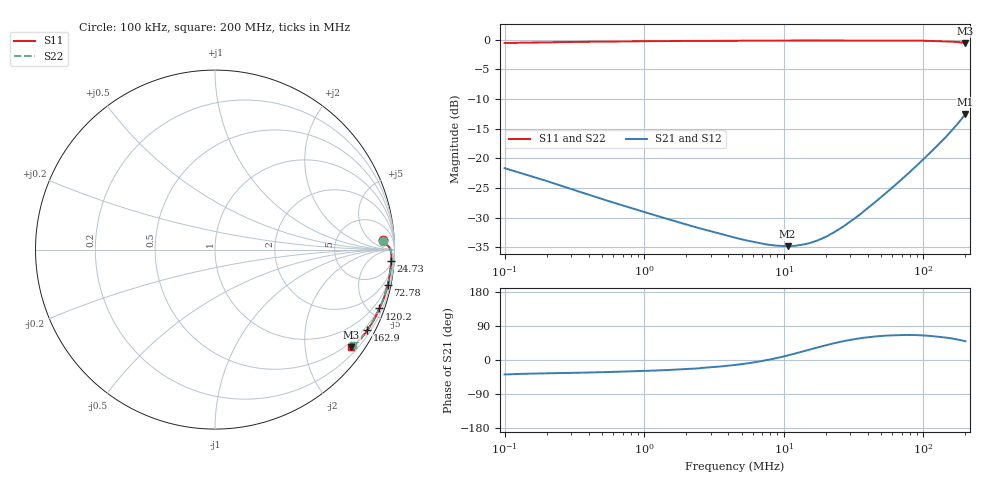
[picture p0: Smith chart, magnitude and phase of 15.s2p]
#  HZ  S  RI  R  50.00
! Rohde & Schwarz Vector Network Analyzer
! Rohde-Schwarz,ZNLE6-2Port,1323001256200024,1.71.1.10-23.02.1.238
! Created: UTC 4/11/2025, 6:06:44 AM
! freq[Hz]  re:S11  im:S11  re:S21  im:S21  re:S12  im:S12  re:S22  im:S22
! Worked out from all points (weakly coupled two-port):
!   1001 points, 100 kHz to 200 MHz, reference 50 ohm
!   highest |S21| = -12.53 dB at 200 MHz (marker M1); lowest = -34.8 dB at 10.64 MHz (marker M2)
!   lowest |S11| = -0.6 dB at 200 MHz (marker M3), VSWR 29.12, Z = 18.1 - j154 ohm
!   |S11| at or under -10 dB: nowhere
!   |S22| runs from -0.6 to -0.1 dB; largest |S21 - S12| = 0.0038
!   S11 on the Smith chart (normalised r, x): 100 kHz: 18, +15; 24.73 MHz: 7, -29; 72.78 MHz: 0.87, -9.71; 120.2 MHz: 0.46, -5.73; 162.9 MHz: 0.34, -4.01; 200 MHz: 0.36, -3.07
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100000  0.9359 0.0507  0.0649 -0.0511  0.065 -0.0511  0.9357 0.0506
185090.2  0.9465 0.0378  0.0541 -0.0384  0.0541 -0.0384  0.9464 0.0379
355854.1  0.9573 0.0277  0.0431 -0.0285  0.0431 -0.0285  0.9573 0.0277
1266322  0.9714 0.0124  0.0288 -0.015  0.0288 -0.015  0.9713 0.0125
2397897  0.9759 0.00523  0.0241 -0.00986  0.0241 -0.00985  0.9758 0.00537
4472136  0.9792 -0.00356  0.0209 -0.00485  0.0209 -0.00497  0.9794 -0.00272
7329628  0.9811 -0.0135  0.0189 -0.000391  0.0189 -0.000643  0.9812 -0.0128
8796434  0.9817 -0.0182  0.0183 0.00154  0.0184 0.00119  0.9817 -0.0174
1.063732e7  0.9821 -0.0238  0.0178 0.00376  0.0179 0.0034  0.9821 -0.0229
1.276607e7  0.9824 -0.0298  0.0175 0.00612  0.0175 0.00607  0.9824 -0.0292
1.591428e7  0.9825 -0.0391  0.0171 0.00953  0.0172 0.00938  0.9826 -0.0382
2.029644e7  0.9824 -0.0518  0.0169 0.014  0.0172 0.0137  0.9825 -0.0504
2.473129e7  0.9817 -0.0644  0.0171 0.0184  0.0174 0.0181  0.9819 -0.0628
3.535047e7  0.9792 -0.0945  0.0182 0.0285  0.0187 0.0282  0.9796 -0.0919
5.663162e7  0.9712 -0.154  0.0229 0.0484  0.0236 0.0479  0.9717 -0.1497
7.277681e7  0.9617 -0.1985  0.0282 0.0634  0.0293 0.0627  0.9626 -0.1934
9.423843e7  0.9452 -0.2574  0.0383 0.0836  0.0399 0.0828  0.9465 -0.2515
1.20188e8  0.9165 -0.3281  0.056 0.1072  0.0578 0.1061  0.9192 -0.3215
1.420639e8  0.886 -0.3901  0.0748 0.1269  0.0766 0.1256  0.8903 -0.3803
1.628929e8  0.8496 -0.4489  0.0976 0.1465  0.1 0.1447  0.8559 -0.4367
1.770979e8  0.8197 -0.488  0.1162 0.1589  0.1189 0.1569  0.8273 -0.4746
2e8  0.7586 -0.5441  0.1538 0.1794  0.1566 0.1769  0.7709 -0.5332
